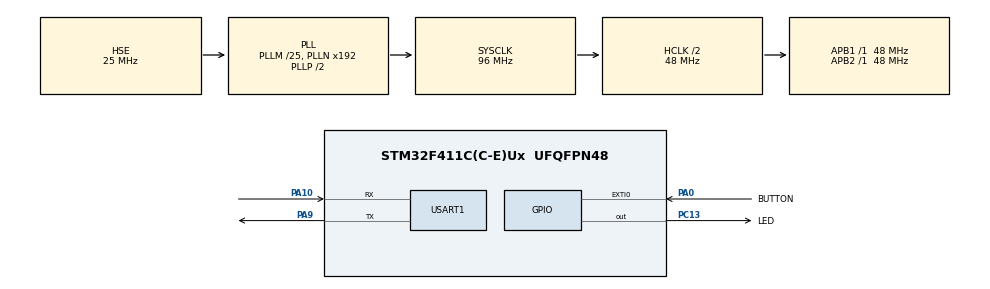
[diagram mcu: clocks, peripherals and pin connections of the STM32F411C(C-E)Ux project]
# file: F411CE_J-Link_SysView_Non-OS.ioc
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Mcu.Family=STM32F4
RCC.PLLSourceVirtual=RCC_PLLSOURCE_HSE
PC15-OSC32_OUT.Mode=LSE-External-Oscillator
RCC.CortexFreq_Value=48000000
PA10.Mode=Asynchronous
PC13-ANTI_TAMP.GPIO_Label=LED
PH1\ -\ OSC_OUT.Mode=HSE-External-Oscillator
PC14-OSC32_IN.Signal=RCC_OSC32_IN
RCC.SYSCLKSource=RCC_SYSCLKSOURCE_PLLCLK
ProjectManager.StackSize=0x400
PA0-WKUP.GPIO_Label=BUTTON
PA0-WKUP.Signal=GPXTI0
PA13.Signal=SYS_JTMS-SWDIO
PA9.Mode=Asynchronous
PH0\ -\ OSC_IN.Mode=HSE-External-Oscillator
PH0\ -\ OSC_IN.Signal=RCC_OSC_IN
ProjectManager.TargetToolchain=STM32CubeIDE
RCC.HCLKFreq_Value=48000000
RCC.APB2TimFreq_Value=48000000
TIM3.Period=1000-1
PA9.Signal=USART1_TX
PC15-OSC32_OUT.Signal=RCC_OSC32_OUT
RCC.AHBFreq_Value=48000000
RCC.HSE_VALUE=25000000
PH1\ -\ OSC_OUT.Signal=RCC_OSC_OUT
PB3.Mode=Trace_Asynchronous_SW
board=custom
PC13-ANTI_TAMP.Signal=GPIO_Output
RCC.VCOOutputFreq_Value=192000000
NVIC.TIM3_IRQn=true\:0\:0\:false\:false\:true\:true\:true
RCC.APB2Freq_Value=48000000
PC14-OSC32_IN.Mode=LSE-External-Oscillator
PA14.Mode=Trace_Asynchronous_SW
TIM3.Prescaler=480-1
RCC.AHBCLKDivider=RCC_SYSCLK_DIV2
PA13.Mode=Trace_Asynchronous_SW
Mcu.Name=STM32F411C(C-E)Ux
RCC.48MHZClocksFreq_Value=48000000
PB3.Signal=SYS_JTDO-SWO
NVIC.EXTI0_IRQn=true\:0\:0\:false\:false\:true\:true\:true
RCC.SYSCLKFreq_VALUE=96000000
Mcu.Package=UFQFPN48
USART1.VirtualMode=VM_ASYNC
PA10.Signal=USART1_RX
PA14.Signal=SYS_JTCK-SWCLK
ProjectManager.HeapSize=0x200
RCC.HSI_VALUE=16000000
NVIC.PriorityGroup=NVIC_PRIORITYGROUP_4
RCC.PLLM=25
RCC.APB1TimFreq_Value=48000000
NVIC.USART1_IRQn=true\:0\:0\:false\:false\:true\:true\:true
RCC.APB1Freq_Value=48000000
VP_TIM3_VS_ClockSourceINT.Mode=Internal

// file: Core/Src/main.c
/* USER CODE BEGIN Header */
/**
  ******************************************************************************
  * @file           : main.c
  * @brief          : Main program body
  ******************************************************************************
  * @attention
  *
  * <h2><center>&copy; Copyright (c) 2021 STMicroelectronics.
  * All rights reserved.</center></h2>
  *
  * This software component is licensed by ST under BSD 3-Clause license,
  * the "License"; You may not use this file except in compliance with the
  * License. You may obtain a copy of the License at:
  *                        opensource.org/licenses/BSD-3-Clause
  *
  ******************************************************************************
  */
/* USER CODE END Header */
#include "main.h"

/* USER CODE BEGIN Includes */
#include <stdio.h>
#include <string.h>
#include "SEGGER_SYSVIEW_Conf.h"
#include "SEGGER_SYSVIEW.h"
/* USER CODE END Includes */

TIM_HandleTypeDef htim3;

UART_HandleTypeDef huart1;

/* USER CODE BEGIN PV */
unsigned char counter = 0;
char buffer[16] = { 0 }; // counter=xxx\r\n
/* USER CODE END PV */

void SystemClock_Config(void);
static void MX_GPIO_Init(void);
static void MX_USART1_UART_Init(void);
static void MX_TIM3_Init(void);

/* USER CODE BEGIN 0 */
void HAL_TIM_PeriodElapsedCallback(TIM_HandleTypeDef *htim) {
//  SEGGER_SYSVIEW_RecordVoid(APP_EVTID_HAL_TIM_PeriodElapsedCallback);
  SEGGER_SYSVIEW_RecordU32(APP_EVTID_HAL_TIM_PeriodElapsedCallback, (U32)htim->Instance);
  if(htim == &htim3) {
    HAL_GPIO_TogglePin(LED_GPIO_Port, LED_Pin);
  }
  SEGGER_SYSVIEW_RecordEndCall(APP_EVTID_HAL_TIM_PeriodElapsedCallback);
}

void HAL_GPIO_EXTI_Callback(uint16_t GPIO_Pin) {
//  SEGGER_SYSVIEW_RecordVoid(APP_EVTID_HAL_GPIO_EXTI_Callback);
  SEGGER_SYSVIEW_RecordU32(APP_EVTID_HAL_GPIO_EXTI_Callback, GPIO_Pin);
  if(GPIO_Pin == GPIO_PIN_0) {
    counter++;
    SEGGER_SYSVIEW_WarnfHost("counter set to %d", counter);
  }
  SEGGER_SYSVIEW_RecordEndCall(APP_EVTID_HAL_GPIO_EXTI_Callback);
}

void HAL_UART_TxCpltCallback(UART_HandleTypeDef *huart) {
//  SEGGER_SYSVIEW_RecordVoid(APP_EVTID_HAL_UART_TxCpltCallback);
  SEGGER_SYSVIEW_RecordU32(APP_EVTID_HAL_UART_TxCpltCallback, (U32)huart->Instance);
  if(huart == &huart1) {
    SEGGER_SYSVIEW_MarkStop(APP_MARKER_UART_TX_INTERRUPT);
  }
  SEGGER_SYSVIEW_RecordEndCall(APP_EVTID_HAL_UART_TxCpltCallback);
}
/* USER CODE END 0 */

int main(void)
{

  /* MCU Configuration--------------------------------------------------------*/

  /* Reset of all peripherals, Initializes the Flash interface and the Systick. */
  HAL_Init();

  /* Configure the system clock */
  SystemClock_Config();

  /* Initialize all configured peripherals */
  MX_GPIO_Init();
  MX_USART1_UART_Init();
  MX_TIM3_Init();
  /* USER CODE BEGIN 2 */
  SEGGER_SYSVIEW_Conf(); // initialize SystemView
  /* USER CODE END 2 */

  /* Infinite loop */
  /* USER CODE BEGIN WHILE */
  HAL_TIM_Base_Start_IT(&htim3);
  while (1)
  {
    SEGGER_SYSVIEW_RecordVoid(APP_EVTID_MAIN_LOOP);
    sprintf(buffer, "counter = %03d\r\n", counter);

    // measure UART TX blocking mode
    SEGGER_SYSVIEW_MarkStart(APP_MARKER_UART_TX_BLOCKING);
    HAL_UART_Transmit(&huart1, (uint8_t*)buffer, strlen(buffer), HAL_MAX_DELAY);
    SEGGER_SYSVIEW_MarkStop(APP_MARKER_UART_TX_BLOCKING);

    // measure UART TX interrupt mode
    SEGGER_SYSVIEW_MarkStart(APP_MARKER_UART_TX_INTERRUPT);
    HAL_UART_Transmit_IT(&huart1, (uint8_t*)buffer, strlen(buffer));

    // print
    SEGGER_SYSVIEW_Print(buffer);

    // delay
    HAL_Delay(100);
    SEGGER_SYSVIEW_RecordEndCall(APP_EVTID_MAIN_LOOP);
    /* USER CODE END WHILE */

  }
}

void SystemClock_Config(void)
{
  RCC_OscInitTypeDef RCC_OscInitStruct = {0};
  RCC_ClkInitTypeDef RCC_ClkInitStruct = {0};

  /** Configure the main internal regulator output voltage
  */
  __HAL_RCC_PWR_CLK_ENABLE();
  __HAL_PWR_VOLTAGESCALING_CONFIG(PWR_REGULATOR_VOLTAGE_SCALE1);
  /** Initializes the RCC Oscillators according to the specified parameters
  * in the RCC_OscInitTypeDef structure.
  */
  RCC_OscInitStruct.OscillatorType = RCC_OSCILLATORTYPE_HSE;
  RCC_OscInitStruct.HSEState = RCC_HSE_ON;
  RCC_OscInitStruct.PLL.PLLState = RCC_PLL_ON;
  RCC_OscInitStruct.PLL.PLLSource = RCC_PLLSOURCE_HSE;
  RCC_OscInitStruct.PLL.PLLM = 25;
  RCC_OscInitStruct.PLL.PLLN = 192;
  RCC_OscInitStruct.PLL.PLLP = RCC_PLLP_DIV2;
  RCC_OscInitStruct.PLL.PLLQ = 4;
  if (HAL_RCC_OscConfig(&RCC_OscInitStruct) != HAL_OK)
  {
    Error_Handler();
  }
  /** Initializes the CPU, AHB and APB buses clocks
  */
  RCC_ClkInitStruct.ClockType = RCC_CLOCKTYPE_HCLK|RCC_CLOCKTYPE_SYSCLK
                              |RCC_CLOCKTYPE_PCLK1|RCC_CLOCKTYPE_PCLK2;
  RCC_ClkInitStruct.SYSCLKSource = RCC_SYSCLKSOURCE_PLLCLK;
  RCC_ClkInitStruct.AHBCLKDivider = RCC_SYSCLK_DIV2;
  RCC_ClkInitStruct.APB1CLKDivider = RCC_HCLK_DIV1;
  RCC_ClkInitStruct.APB2CLKDivider = RCC_HCLK_DIV1;

  if (HAL_RCC_ClockConfig(&RCC_ClkInitStruct, FLASH_LATENCY_1) != HAL_OK)
  {
    Error_Handler();
  }
}

static void MX_TIM3_Init(void)
{

  TIM_ClockConfigTypeDef sClockSourceConfig = {0};
  TIM_MasterConfigTypeDef sMasterConfig = {0};

  htim3.Instance = TIM3;
  htim3.Init.Prescaler = 480-1;
  htim3.Init.CounterMode = TIM_COUNTERMODE_UP;
  htim3.Init.Period = 1000-1;
  htim3.Init.ClockDivision = TIM_CLOCKDIVISION_DIV1;
  htim3.Init.AutoReloadPreload = TIM_AUTORELOAD_PRELOAD_DISABLE;
  if (HAL_TIM_Base_Init(&htim3) != HAL_OK)
  {
    Error_Handler();
  }
  sClockSourceConfig.ClockSource = TIM_CLOCKSOURCE_INTERNAL;
  if (HAL_TIM_ConfigClockSource(&htim3, &sClockSourceConfig) != HAL_OK)
  {
    Error_Handler();
  }
  sMasterConfig.MasterOutputTrigger = TIM_TRGO_RESET;
  sMasterConfig.MasterSlaveMode = TIM_MASTERSLAVEMODE_DISABLE;
  if (HAL_TIMEx_MasterConfigSynchronization(&htim3, &sMasterConfig) != HAL_OK)
  {
    Error_Handler();
  }

}

static void MX_USART1_UART_Init(void)
{

  huart1.Instance = USART1;
  huart1.Init.BaudRate = 115200;
  huart1.Init.WordLength = UART_WORDLENGTH_8B;
  huart1.Init.StopBits = UART_STOPBITS_1;
  huart1.Init.Parity = UART_PARITY_NONE;
  huart1.Init.Mode = UART_MODE_TX_RX;
  huart1.Init.HwFlowCtl = UART_HWCONTROL_NONE;
  huart1.Init.OverSampling = UART_OVERSAMPLING_16;
  if (HAL_UART_Init(&huart1) != HAL_OK)
  {
    Error_Handler();
  }

}

static void MX_GPIO_Init(void)
{
  GPIO_InitTypeDef GPIO_InitStruct = {0};

  /* GPIO Ports Clock Enable */
  __HAL_RCC_GPIOC_CLK_ENABLE();
  __HAL_RCC_GPIOH_CLK_ENABLE();
  __HAL_RCC_GPIOA_CLK_ENABLE();
  __HAL_RCC_GPIOB_CLK_ENABLE();

  /*Configure GPIO pin Output Level */
  HAL_GPIO_WritePin(LED_GPIO_Port, LED_Pin, GPIO_PIN_RESET);

  /*Configure GPIO pin : LED_Pin */
  GPIO_InitStruct.Pin = LED_Pin;
  GPIO_InitStruct.Mode = GPIO_MODE_OUTPUT_PP;
  GPIO_InitStruct.Pull = GPIO_NOPULL;
  GPIO_InitStruct.Speed = GPIO_SPEED_FREQ_LOW;
  HAL_GPIO_Init(LED_GPIO_Port, &GPIO_InitStruct);

  /*Configure GPIO pin : BUTTON_Pin */
  GPIO_InitStruct.Pin = BUTTON_Pin;
  GPIO_InitStruct.Mode = GPIO_MODE_IT_RISING;
  GPIO_InitStruct.Pull = GPIO_NOPULL;
  HAL_GPIO_Init(BUTTON_GPIO_Port, &GPIO_InitStruct);

  /* EXTI interrupt init*/
  HAL_NVIC_SetPriority(EXTI0_IRQn, 0, 0);
  HAL_NVIC_EnableIRQ(EXTI0_IRQn);

}

void Error_Handler(void)
{
  __disable_irq();
  while (1)
  {
  }
}

/************************ (C) COPYRIGHT STMicroelectronics *****END OF FILE****/
